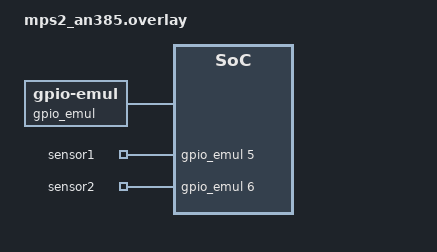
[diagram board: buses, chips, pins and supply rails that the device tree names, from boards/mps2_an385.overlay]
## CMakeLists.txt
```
cmake_minimum_required(VERSION 3.20.0)
find_package(Zephyr REQUIRED HINTS $ENV{ZEPHYR_BASE})

project(radar_classifier_integration_tests)

target_include_directories(app PRIVATE ../../include)

target_sources(app PRIVATE
        src/main.c
        ../../src/sensor_thread.c
        ../../src/display_thread.c
        ../../src/camera_service.c
        ../../src/utils.c
)
```

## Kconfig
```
config RADAR_SENSOR_DISTANCE_MM
    int
    default 3000

config RADAR_MAX_AXLE_SPACING_MM
    int
    default 12000

config RADAR_SPEED_LIMIT_LIGHT_KMH
    int
    default 80

config RADAR_SPEED_LIMIT_HEAVY_KMH
    int
    default 60

config RADAR_WARNING_THRESHOLD_PERCENT
    int
    default 90

source "Kconfig.zephyr"
```

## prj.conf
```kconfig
CONFIG_ASSERT=y

CONFIG_LOG=y
CONFIG_LOG_BACKEND_UART=y
CONFIG_LOG_PRINTK=y

CONFIG_MAIN_STACK_SIZE=2048
CONFIG_SYSTEM_WORKQUEUE_STACK_SIZE=2048

CONFIG_GPIO=y
CONFIG_DISPLAY=y

CONFIG_ZBUS=y
CONFIG_ZBUS_MSG_SUBSCRIBER=y

CONFIG_THREAD_NAME=y
CONFIG_THREAD_STACK_INFO=y

CONFIG_ENTROPY_GENERATOR=y
CONFIG_TEST_RANDOM_GENERATOR=y

CONFIG_QEMU_ICOUNT=n
```

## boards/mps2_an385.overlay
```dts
#include <zephyr/dt-bindings/gpio/gpio.h>

/ {
	aliases {
		sensor-gpio5 = &sensor1;
		sensor-gpio6 = &sensor2;
	};

	gpio_emul: gpio_emul {
		compatible = "zephyr,gpio-emul";
		status = "okay";
		gpio-controller;
		#gpio-cells = <2>;
		ngpios = <32>;

		rising-edge;
	};

	gpio_keys {
		compatible = "gpio-keys";
		debounce-interval-ms = <20>;

		sensor1: sensor1 {
			gpios = <&gpio_emul 5 (GPIO_PULL_DOWN | GPIO_ACTIVE_HIGH)>;
		};

		sensor2: sensor2 {
			gpios = <&gpio_emul 6 (GPIO_PULL_DOWN | GPIO_ACTIVE_HIGH)>;
		};
	};
};
```

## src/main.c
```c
/**
 * @file main.c
 * @author Paulo Santos (pauloroberto.santos@edge.ufal.br)
 * @brief Testes de integração.
 * @version 0.1
 * @date 26-11-2025
 *
 * @copyright Copyright (c) 2025
 *
 */

#include "radar_sensing.h"
#include "occurrences.h"

#include <zephyr/ztest.h>
#include <zephyr/kernel.h>
#include <zephyr/drivers/gpio.h>

#include "camera_service.h"
#include "../../../../zephyr/subsys/testsuite/ztest/include/zephyr/ztest_assert.h"
#include "../../../app/include/radar_sensing.h"
#include "zephyr/logging/log.h"
#include "zephyr/zbus/zbus.h"

ZTEST_SUITE(radar_integration, NULL, NULL
,
NULL
,
NULL
,
NULL
);

extern void sensor1_isr_callback(const struct device* dev, struct gpio_callback* cb, uint32_t pins);

extern void sensor2_isr_callback(const struct device* dev, struct gpio_callback* cb, uint32_t pins);

extern struct k_msgq sensor_msgq;

/* Simula a passagem do tempo e dispara o Sensor 1 */
static void hit_sensor_1(const uint32_t wait_us) {
    if (wait_us > 0) {
        k_busy_wait(wait_us);
    }

    sensor1_isr_callback(NULL, NULL, 0);
}

/* Simula a passagem do tempo e dispara o Sensor 2 */
static void hit_sensor_2(const uint32_t wait_us) {
    if (wait_us > 0) {
        k_busy_wait(wait_us);
    }

    sensor2_isr_callback(NULL, NULL, 0);
}

ZTEST(radar_integration, test_sensor_fsm) {
    k_msgq_purge(&sensor_msgq);

    zassert_equal(sensor_get_state(), RADAR_STATE_IDLE, "Estado inicial errado");
    hit_sensor_1(0); /* Eixo 1 */
    zassert_equal(sensor_get_state(), RADAR_STATE_SPEED_MEASURING, "Estado errado apos primeiro toque do sensor 1");
    hit_sensor_1(90000); /* Eixo 2 (aprox 2.6m depois) */
    zassert_equal(sensor_get_state(), RADAR_STATE_SPEED_MEASURING, "Estado errado apos toque em sensor 1");
    hit_sensor_2(10000); /* Eixo 1 no S2 (100ms = 30m/s = 108 km/h) */
    zassert_equal(sensor_get_state(), RADAR_STATE_OBSERVING, "Estado errado apos primeiro toque do sensor 2");

    k_sleep(K_MSEC(1000)); /* A 54km/h, o timeout de 12m seria ~800ms. Esperamos 1s. */

    zassert_equal(sensor_get_state(), RADAR_STATE_IDLE, "Estado errado apos fim do veiculo 1");
    hit_sensor_1(0); /* Eixo 1 */
    zassert_equal(sensor_get_state(), RADAR_STATE_SPEED_MEASURING, "Estado errado apos 'primeiro' toque do sensor 1");
    hit_sensor_2(200000); /* Fecha Velocidade no S2 (após 200ms = 54 km/h para 3m) */
    zassert_equal(sensor_get_state(), RADAR_STATE_OBSERVING, "Estado errado apos primeiro toque do sensor 2");
    hit_sensor_1(80000); /* Eixo 2 (Tandem - Gap curto de 80ms) */
    zassert_equal(sensor_get_state(), RADAR_STATE_OBSERVING, "Estado errado apos toque subsequente do sensor 1");
    hit_sensor_1(80000); /* Eixo 3 (Tandem - Gap curto de 80ms) */
    zassert_equal(sensor_get_state(), RADAR_STATE_OBSERVING, "Estado errado apos toque subsequente do sensor 1");

    k_sleep(K_MSEC(1000)); /* A 54km/h, o timeout de 12m seria ~800ms. Esperamos 1s. */
    zassert_equal(sensor_get_state(), RADAR_STATE_IDLE, "Estado errado apos fim do veiculo 2");
}

ZTEST(radar_integration, test_light_vehicle) {
    struct sensor_data_msg msg;
    k_msgq_purge(&sensor_msgq);

    hit_sensor_1(0); /* Eixo 1 */
    hit_sensor_1(90000); /* Eixo 2 (aprox 2.6m depois) */
    hit_sensor_2(10000); /* Eixo 1 no S2 (100ms = 30m/s = 108 km/h) */


    k_sleep(K_MSEC(1000)); /* A 54km/h, o timeout de 12m seria ~800ms. Esperamos 1s. */

    zassert_equal(k_msgq_get(&sensor_msgq, &msg, K_NO_WAIT), 0, "Fila vazia!");
    zassert_equal(msg.type, VEHICLE_TYPE_LIGHT, "Nao classificou como PESADO");
    zassert_within(msg.speed_kmph, 108, 2, "Nao calculou a velocidade correta");
}

ZTEST(radar_integration, test_heavy_vehicle) {
    struct sensor_data_msg msg;
    k_msgq_purge(&sensor_msgq);

    hit_sensor_1(0); /* Eixo 1 */
    hit_sensor_2(200000); /* Fecha Velocidade no S2 (após 200ms = 54 km/h para 3m) */
    hit_sensor_1(80000); /* Eixo 2 (Tandem - Gap curto de 80ms) */
    hit_sensor_1(80000); /* Eixo 3 (Tandem - Gap curto de 80ms) */


    k_sleep(K_MSEC(1000)); /* A 54km/h, o timeout de 12m seria ~800ms. Esperamos 1s. */

    zassert_equal(k_msgq_get(&sensor_msgq, &msg, K_NO_WAIT), 0, "Fila vazia!");
    zassert_equal(msg.type, VEHICLE_TYPE_HEAVY, "Nao classificou como PESADO");
    zassert_within(msg.speed_kmph, 54, 2, "Nao calculou a velocidade correta");
}

ZTEST(radar_integration, test_tailgating_cars) {
    struct sensor_data_msg msg;
    k_msgq_purge(&sensor_msgq);

    /* Veiculo 1 */
    hit_sensor_1(0); /* Eixo 1 */
    hit_sensor_1(90000); /* Eixo 2 (aprox 2.6m depois) */
    hit_sensor_2(10000); /* Eixo 1 no S2 (100ms = 30m/s = 108 km/h) */

    /* Veiculo 2 */
    /* A 30m/s (108km/h), 15m leva 500ms (500000us), se o limite é 12m, isso DEVE disparar o corte imediato. */
    hit_sensor_1(500000);
    hit_sensor_1(90000);
    hit_sensor_2(10000);

    k_busy_wait(500000);

    zassert_equal(k_msgq_get(&sensor_msgq, &msg, K_MSEC(1)), 0, "Veiculo 1 nao foi detectado");
    zassert_equal(msg.type, VEHICLE_TYPE_LIGHT, "Veiculo 1 deveria ser LEVE");
    zassert_within(msg.speed_kmph, 108, 1, "Nao calculou a velocidade correta");

    zassert_equal(k_msgq_get(&sensor_msgq, &msg, K_MSEC(1)), 0, "Veiculo 2 nao foi detectado");
    zassert_equal(msg.type, VEHICLE_TYPE_LIGHT, "Veiculo 2 deveria ser LEVE");
    zassert_within(msg.speed_kmph, 108, 1, "Nao calculou a velocidade correta");
}

ZTEST(radar_integration, test_tailgating_trucks) {
    struct sensor_data_msg msg;
    k_msgq_purge(&sensor_msgq);

    hit_sensor_1(1000000); /* Eixo 1 */
    hit_sensor_2(200000); /* Fecha Velocidade no S2 (após 200ms = 54 km/h para 3m) */
    hit_sensor_1(80000); /* Eixo 2 (Tandem - Gap curto de 80ms) */
    hit_sensor_1(80000); /* Eixo 3 (Tandem - Gap curto de 80ms) */
    hit_sensor_1(120000); /* Eixo 4 (Tandem - Gap maior de 120ms) */
    hit_sensor_1(80000); /* Eixo 5 (Tandem - Gap curto de 80ms) */

    /* A 54km/h, o timeout de 12m seria ~800ms. Esperamos 1s para o próximo veículo. */
    hit_sensor_1(1000000); /* Eixo 1 */
    hit_sensor_2(200000); /* Fecha Velocidade no S2 (após 200ms = 54 km/h para 3m) */
    hit_sensor_1(80000); /* Eixo 2 (Tandem - Gap curto de 80ms) */
    hit_sensor_1(80000); /* Eixo 3 (Tandem - Gap curto de 80ms) */

    k_sleep(K_MSEC(1000));

    zassert_equal(k_msgq_get(&sensor_msgq, &msg, K_MSEC(1)), 0, "Veiculo 1 nao foi detectado");
    zassert_equal(msg.type, VEHICLE_TYPE_HEAVY, "Veiculo 1 deveria ser pesado");
    zassert_within(msg.speed_kmph, 54, 1, "Nao calculou a velocidade correta");

    zassert_equal(k_msgq_get(&sensor_msgq, &msg, K_MSEC(1)), 0, "Veiculo 2 nao foi detectado");
    zassert_equal(msg.type, VEHICLE_TYPE_HEAVY, "Veiculo 2 deveria ser pesado");
    zassert_within(msg.speed_kmph, 54, 1, "Nao calculou a velocidade correta");
}

ZTEST(radar_integration, test_tailgating_car_truck) {
    struct sensor_data_msg msg;
    k_msgq_purge(&sensor_msgq);

    hit_sensor_1(0); /* Eixo 1 */
    hit_sensor_1(90000); /* Eixo 2 (aprox 2.6m depois) */
    hit_sensor_2(110000); /* Eixo 1 no S2 (200ms = 15m/s = 54 km/h) */

    /* A 54km/h, o timeout de 12m seria ~800ms. Esperamos 1s para o próximo veículo. */
    hit_sensor_1(1000000); /* Eixo 1 */
    hit_sensor_2(200000); /* Fecha Velocidade no S2 (após 200ms = 54 km/h para 3m) */
    hit_sensor_1(80000); /* Eixo 2 (Tandem - Gap curto de 80ms) */
    hit_sensor_1(80000); /* Eixo 3 (Tandem - Gap curto de 80ms) */

    k_sleep(K_MSEC(1000));

    zassert_equal(k_msgq_get(&sensor_msgq, &msg, K_MSEC(1)), 0, "Veiculo 1 nao foi detectado");
    zassert_equal(msg.type, VEHICLE_TYPE_LIGHT, "Veiculo 1 deveria ser leve");
    zassert_within(msg.speed_kmph, 54, 1, "Nao calculou a velocidade correta");

    zassert_equal(k_msgq_get(&sensor_msgq, &msg, K_MSEC(1)), 0, "Veiculo 2 nao foi detectado");
    zassert_equal(msg.type, VEHICLE_TYPE_HEAVY, "Veiculo 2 deveria ser pesado");
    zassert_within(msg.speed_kmph, 54, 1, "Nao calculou a velocidade correta");
}

ZTEST(radar_integration, test_tailgating_truck_car) {
    struct sensor_data_msg msg;
    k_msgq_purge(&sensor_msgq);

    hit_sensor_1(0); /* Eixo 1 */
    hit_sensor_2(200000); /* Fecha Velocidade no S2 (após 200ms = 54 km/h para 3m) */
    hit_sensor_1(80000); /* Eixo 2 (Tandem - Gap curto de 80ms) */
    hit_sensor_1(80000); /* Eixo 3 (Tandem - Gap curto de 80ms) */

    /* A 54km/h, o timeout de 12m seria ~800ms. Esperamos 1s para o próximo veículo. */
    hit_sensor_1(1000000); /* Eixo 1 */
    hit_sensor_1(90000); /* Eixo 2 (aprox 2.6m depois) */
    hit_sensor_2(110000); /* Eixo 1 no S2 (200ms = 15m/s = 54 km/h) */

    k_sleep(K_MSEC(1000));

    zassert_equal(k_msgq_get(&sensor_msgq, &msg, K_MSEC(1)), 0, "Veiculo 1 nao foi detectado");
    zassert_equal(msg.type, VEHICLE_TYPE_HEAVY, "Veiculo 2 deveria ser pesado");
    zassert_within(msg.speed_kmph, 54, 1, "Nao calculou a velocidade correta");

    zassert_equal(k_msgq_get(&sensor_msgq, &msg, K_MSEC(1)), 0, "Veiculo 2 nao foi detectado");
    zassert_equal(msg.type, VEHICLE_TYPE_LIGHT, "Veiculo 1 deveria ser leve");
    zassert_within(msg.speed_kmph, 54, 1, "Nao calculou a velocidade correta");
}

ZBUS_MSG_SUBSCRIBER_DEFINE(msub_camera_evt);
ZBUS_CHAN_ADD_OBS(chan_camera_evt, msub_camera_evt, 3);

ZTEST(radar_integration, test_zbus_flow) {
    struct sensor_data_msg sensor_data_msg;
    const struct zbus_channel* chan;
    struct occurrence_msg occurrence;

    k_msgq_purge(&sensor_msgq);

    hit_sensor_1(0); /* Eixo 1 */
    hit_sensor_2(100000); /* Fecha Velocidade no S2 (após 100ms = 108 km/h para 3m) */
    hit_sensor_1(40000); /* Eixo 2 (Tandem - Gap curto de 40ms) */
    hit_sensor_1(40000); /* Eixo 3 (Tandem - Gap curto de 40ms) */

    k_sleep(K_MSEC(500));

    zassert_equal(k_msgq_get(&sensor_msgq, &sensor_data_msg, K_MSEC(1)), 0, "Veiculo 1 nao foi detectado");
    zassert_equal(sensor_data_msg.type, VEHICLE_TYPE_HEAVY, "Veiculo 2 deveria ser pesado");
    zassert_within(sensor_data_msg.speed_kmph, 108, 1, "Nao calculou a velocidade correta");

    zassert_equal(camera_api_capture(K_FOREVER), 0, "API da camera indisponivel");

    struct msg_camera_evt rsp;

    zassert_equal(zbus_sub_wait_msg(&msub_camera_evt, &chan, &rsp, K_FOREVER), 0, "Nao foi possivel obter uma placa");

    zassert_equal(chan, &chan_camera_evt, "Canal espurio");

    if (rsp.type != MSG_CAMERA_EVT_TYPE_DATA) {
        printk("I: Camera falhou de forma esperada.\n");
        zassert_not_equal(rsp.type, MSG_CAMERA_EVT_TYPE_UNDEFINED, "Camera nao funcionou corretamente");
        ztest_test_skip();
    }

    occurrence.plate = rsp.captured_data->plate;
    occurrence.type = sensor_data_msg.type;
    occurrence.speed_kmph = sensor_data_msg.speed_kmph;

    if (occurrences_is_plate_valid(occurrence.plate)) {
        zassert_not_equal(zbus_chan_pub(&infraction_chan, &occurrence, K_FOREVER), -ENOMSG,
                          "Nao foi possivel registrar o veiculo.");
    } else {
        zassert_equal(zbus_chan_pub(&infraction_chan, &occurrence, K_FOREVER), -ENOMSG,
                      "Veiculo invalido registrado.");
    }
}

ZTEST(radar_integration, test_display) {
    struct occurrence_msg occurrence;

    occurrence.plate = "";
    occurrence.type = VEHICLE_TYPE_LIGHT;
    occurrence.speed_kmph = 42;
    zassert_equal(zbus_chan_pub(&non_infraction_chan, &occurrence, K_FOREVER), 0,
                  "Nao foi possivel registrar o veiculo 1.");

    occurrence.plate = "";
    occurrence.type = VEHICLE_TYPE_LIGHT;
    occurrence.speed_kmph = 78;
    zassert_equal(zbus_chan_pub(&non_infraction_chan, &occurrence, K_FOREVER), 0,
                  "Nao foi possivel registrar o veiculo 2.");

    occurrence.plate = "ABC1D23";
    occurrence.type = VEHICLE_TYPE_LIGHT;
    occurrence.speed_kmph = 123;
    zassert_not_equal(zbus_chan_pub(&infraction_chan, &occurrence, K_FOREVER), -ENOMSG,
                      "Nao foi possivel registrar o veiculo 3.");

    occurrence.plate = "ABC123D";
    occurrence.type = VEHICLE_TYPE_LIGHT;
    occurrence.speed_kmph = 123;
    zassert_equal(zbus_chan_pub(&infraction_chan, &occurrence, K_FOREVER), -ENOMSG, "Veiculo 4 foi registrado.");

    occurrence.plate = "";
    occurrence.type = VEHICLE_TYPE_HEAVY;
    occurrence.speed_kmph = 42;
    zassert_equal(zbus_chan_pub(&non_infraction_chan, &occurrence, K_FOREVER), 0,
                  "Nao foi possivel registrar o veiculo 5.");

    occurrence.plate = "";
    occurrence.type = VEHICLE_TYPE_HEAVY;
    occurrence.speed_kmph = 56;
    zassert_equal(zbus_chan_pub(&non_infraction_chan, &occurrence, K_FOREVER), 0,
                  "Nao foi possivel registrar o veiculo 6.");

    occurrence.plate = "ABC1D23";
    occurrence.type = VEHICLE_TYPE_HEAVY;
    occurrence.speed_kmph = 69;
    zassert_equal(zbus_chan_pub(&infraction_chan, &occurrence, K_FOREVER), 0,
                  "Nao foi possivel registrar o veiculo 7.");

    k_sleep(K_MSEC(1000));
}
```
